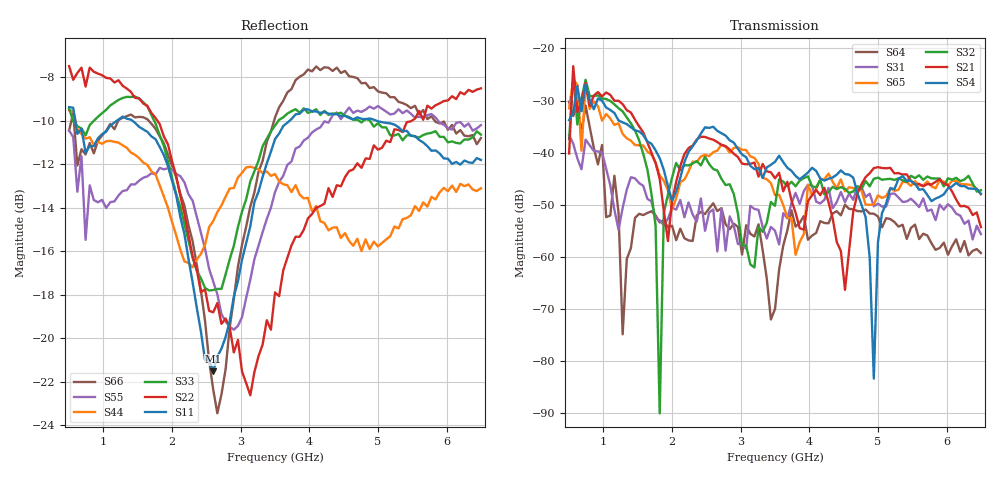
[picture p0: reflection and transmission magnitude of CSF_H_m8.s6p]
!Keysight Technologies,M9804A,MY58100912,A.14.10.03
!Date: Thursday, April 27, 2023 10:28:33
!Correction: S11(C  6-Port  )
!S12(C  6-Port  )
!S13(C  6-Port  )
!S14(C  6-Port  )
!S15(C  6-Port  )
!S16(C  6-Port  )
!S21(C  6-Port  )
!S22(C  6-Port  )
!S23(C  6-Port  )
!S24(C  6-Port  )
!S25(C  6-Port  )
!S26(C  6-Port  )
!S31(C  6-Port  )
!S32(C  6-Port  )
!S33(C  6-Port  )
!S34(C  6-Port  )
!S35(C  6-Port  )
!S36(C  6-Port  )
!S41(C  6-Port  )
!S42(C  6-Port  )
!S43(C  6-Port  )
!S44(C  6-Port  )
!S45(C  6-Port  )
!S46(C  6-Port  )
!S51(C  6-Port  )
!S52(C  6-Port  )
!S53(C  6-Port  )
!S54(C  6-Port  )
!S55(C  6-Port  )
!S56(C  6-Port  )
!S61(C  6-Port  )
!S62(C  6-Port  )
!S63(C  6-Port  )
!S64(C  6-Port  )
!S65(C  6-Port  )
!S66(C  6-Port  )
!S6P File: Measurement: :
# Hz S  RI  R 50
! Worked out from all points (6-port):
!   101 points, 500 MHz to 6.5 GHz, reference 50 ohm
!   strongest paths, dB at 500 MHz, 2 GHz, 3.5 GHz, 5 GHz, 6.5 GHz:
!     S54: -33.7, -49.2, -41.7, -57.1, -47.9
!     S21: -40.2, -49.3, -44.9, -42.8, -54.2
!     S32: -37.4, -44.8, -50.2, -44.8, -47.2
!     S65: -31.5, -50.9, -48.1, -48.2, -48.0
!     S31: -36.6, -50.5, -54.9, -49.8, -55.6
!     S64: -30.2, -54.0, -70.0, -52.2, -59.2
!   lowest |S11| = -21.5 dB at 2.6 GHz (marker M1), VSWR 1.18, Z = 42.5 + j2.17 ohm
!   |S11| at or under -10 dB: 589.6 MHz to 1.197 GHz (607.9 MHz wide, 68 % of centre); 1.42 GHz to 3.715 GHz (2.295 GHz wide, 89.4 % of centre); 4.975 GHz to end of sweep
